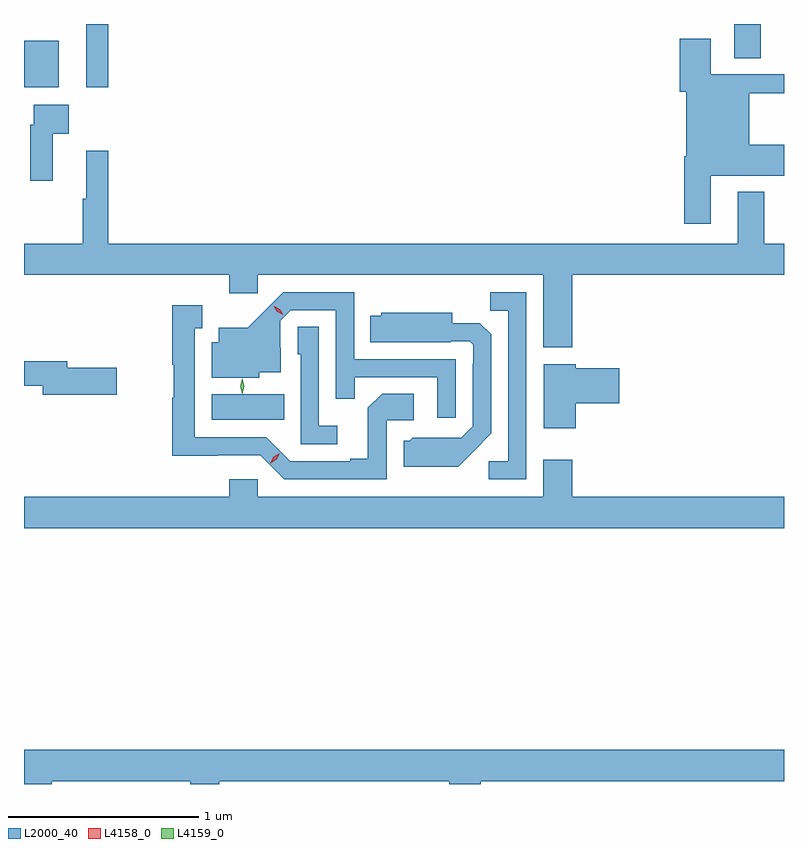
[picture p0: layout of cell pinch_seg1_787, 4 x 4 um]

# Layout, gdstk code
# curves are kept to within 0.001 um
import gdstk
lib = gdstk.Library(unit=1e-6, precision=1e-09)
def R(c, l, rs):  # rectangles x0, y0, x1, y1
    for r in rs: c.add(gdstk.rectangle(r[:2], r[2:], *l))
def P(c, l, *ps):  # polygons
    for p in ps: c.add(gdstk.Polygon(p, *l))
L2000_40 = (2000, 40)
L4158_0 = (4158, 0)
L4159_0 = (4159, 0)

pinch_seg1_787 = lib.new_cell('pinch_seg1_787')
R(pinch_seg1_787, L2000_40, [(383.126,577.61,383.51,577.744), (382.139,579.359,382.321,579.604), (382.466,579.36,382.583,579.693), (385.877,579.514,386.017,579.693)])
P(pinch_seg1_787, L2000_40, [(385.753,578.894),(386.139,578.894),(386.139,579.058),(385.957,579.058),(385.957,579.328),(386.139,579.328),(386.139,579.429),(385.753,579.429),(385.753,579.616),(385.589,579.616),(385.589,579.336),(385.625,579.336),(385.625,578.998),(385.613,578.998),(385.613,578.643),(385.753,578.643)],
  [(382.289,579.116),(382.375,579.116),(382.375,579.268),(382.191,579.268),(382.191,579.164),(382.171,579.164),(382.171,578.868),(382.289,578.868)],
  [(385.025,578.372),(386.139,578.372),(386.139,578.536),(386.035,578.536),(386.035,578.809),(385.895,578.809),(385.895,578.536),(382.583,578.536),(382.583,579.025),(382.466,579.025),(382.466,578.772),(382.447,578.772),(382.447,578.536),(382.139,578.536),(382.139,578.372),(383.219,578.372),(383.219,578.277),(383.37,578.277),(383.37,578.372),(384.872,578.372),(384.872,577.992),(385.025,577.992)],
  [(384.783,578.28),(384.592,578.28),(384.592,578.185),(384.687,578.185),(384.687,577.392),(384.585,577.392),(384.585,577.296),(384.783,577.296)],
  [(384.411,577.929),(383.877,577.929),(383.877,578.28),(383.504,578.28),(383.317,578.095),(383.165,578.095),(383.165,578.017),(383.126,578.017),(383.126,577.832),(383.376,577.832),(383.376,577.859),(383.491,577.859),(383.491,577.988),(383.487,577.988),(383.487,578.13),(383.544,578.187),(383.781,578.187),(383.781,577.72),(383.879,577.72),(383.879,577.833),(384.315,577.833),(384.315,577.62),(384.411,577.62)],
  [(384.048,577.608),(384.19,577.608),(384.19,577.748),(384.025,577.748),(383.949,577.672),(383.949,577.405),(383.855,577.405),(383.855,577.392),(383.541,577.392),(383.415,577.518),(383.038,577.518),(383.038,578.091),(383.077,578.091),(383.077,578.212),(382.92,578.212),(382.92,577.899),(382.927,577.899),(382.927,577.725),(382.92,577.725),(382.92,577.421),(383.382,577.422),(383.508,577.296),(384.048,577.296)],
  [(384.505,577.445),(384.597,577.538),(384.597,578.06),(384.538,578.119),(384.394,578.119),(384.394,578.173),(384.018,578.173),(384.018,578.158),(383.962,578.158),(383.962,578.018),(384.386,578.018),(384.386,578.022),(384.486,578.022),(384.504,578.004),(384.504,577.904),(384.501,577.904),(384.501,577.575),(384.441,577.515),(384.184,577.516),(384.168,577.5),(384.137,577.5),(384.137,577.364),(384.425,577.364)],
  [(383.788,577.579),(383.691,577.579),(383.691,578.099),(383.58,578.099),(383.58,577.956),(383.595,577.956),(383.595,577.482),(383.788,577.482)],
  [(382.627,577.884),(382.366,577.884),(382.366,577.918),(382.139,577.918),(382.139,577.789),(382.238,577.789),(382.238,577.742),(382.627,577.742)],
  [(385.042,577.697),(385.273,577.697),(385.273,577.88),(385.042,577.88),(385.042,577.903),(384.875,577.903),(384.875,577.566),(385.042,577.566)],
  [(386.139,577.204),(385.025,577.204),(385.025,577.399),(384.872,577.399),(384.872,577.204),(383.37,577.204),(383.37,577.297),(383.219,577.297),(383.219,577.204),(382.139,577.204),(382.139,577.04),(386.139,577.04)],
  [(382.286,575.708),(383.015,575.708),(383.015,575.693),(383.166,575.693),(383.166,575.708),(384.377,575.708),(384.377,575.693),(384.542,575.693),(384.542,575.708),(386.139,575.708),(386.139,575.872),(382.139,575.872),(382.139,575.693),(382.286,575.693)])
P(pinch_seg1_787, L4158_0, [(383.503,578.162),(383.472,578.178),(383.454,578.208),(383.454,578.208),(383.455,578.208),(383.486,578.192),(383.503,578.162),(383.503,578.162)],
  [(383.436,577.382),(383.436,577.382),(383.454,577.415),(383.485,577.434),(383.486,577.434),(383.486,577.434),(383.468,577.401),(383.437,577.382)])
P(pinch_seg1_787, L4159_0, [(383.287,577.747),(383.278,577.786),(383.287,577.825),(383.288,577.825),(383.288,577.825),(383.298,577.786),(383.288,577.747),(383.288,577.747)])

lib.write_gds('pinch_seg1_787.gds')
